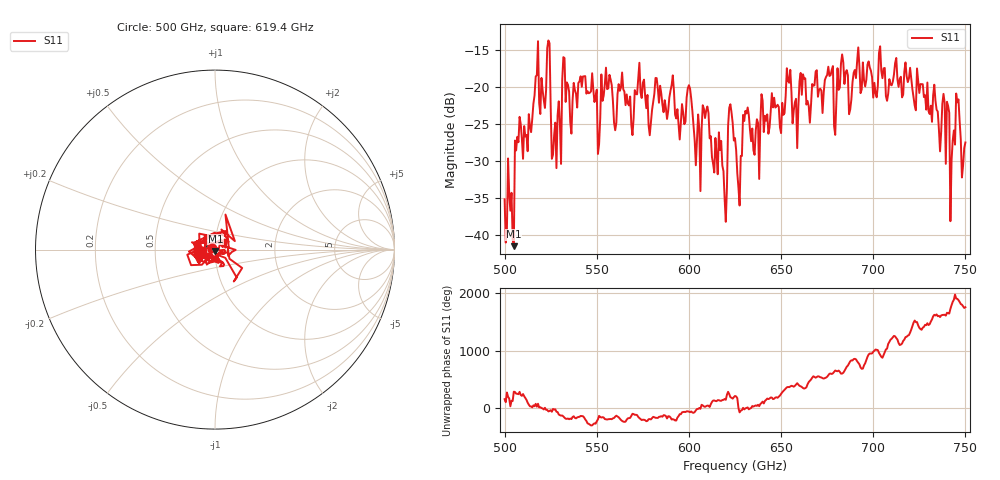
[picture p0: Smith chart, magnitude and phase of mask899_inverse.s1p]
!Created with skrf (http://scikit-rf.org).
# GHz S MA R 50.0
!freq magS11 angS11
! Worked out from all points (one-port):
!   401 points, 500 GHz to 750 GHz, reference 50 ohm
!   lowest |S11| = -41.5 dB at 505 GHz (marker M1), VSWR 1.02, Z = 50.2 - j0.817 ohm
!   |S11| at or under -10 dB: start of sweep to end of sweep
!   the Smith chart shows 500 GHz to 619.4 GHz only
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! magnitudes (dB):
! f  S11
! 500 GHz  -35.2
! 505 GHz  -41.5
! 506.9 GHz  -26.7
! 513.8 GHz  -25.3
! 516.9 GHz  -18.6
! 523.8 GHz  -13.7
! 526.9 GHz  -26.5
! 531.2 GHz  -19.1
! 542.5 GHz  -18.6
! 550.6 GHz  -29.1
! 562.5 GHz  -20.5
! 579.4 GHz  -24.9
! 590.6 GHz  -19.7
! 593.8 GHz  -23.0
! 600 GHz  -19.8
! 605 GHz  -23.7
! 609.4 GHz  -23.2
! 619.4 GHz  -35.1
! 622.5 GHz  -22.3
! 625 GHz  -26.9
! 627.5 GHz  -36.0
! 630.6 GHz  -23.2
! 636.9 GHz  -24.4
! 656.2 GHz  -24.9
! 683.8 GHz  -16.7
! 687.5 GHz  -23.1
! 718.8 GHz  -19.3
! 750 GHz  -27.5
